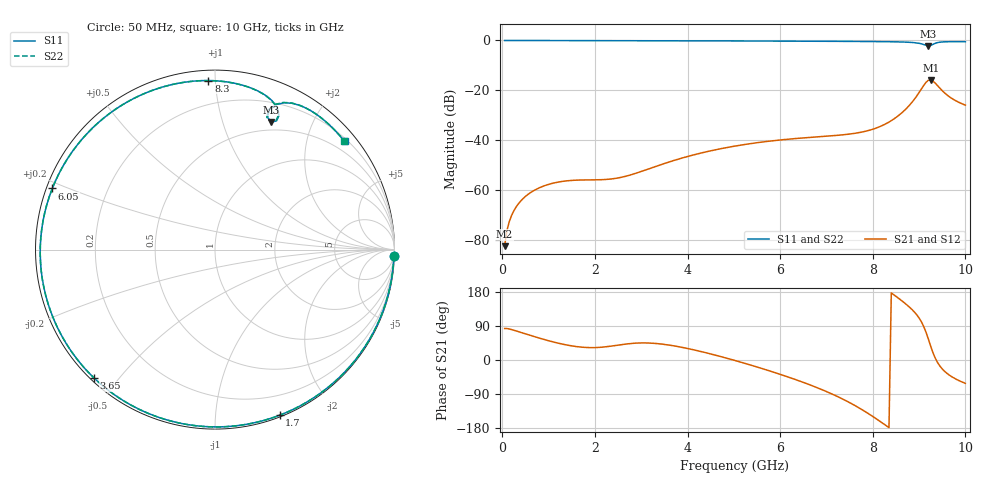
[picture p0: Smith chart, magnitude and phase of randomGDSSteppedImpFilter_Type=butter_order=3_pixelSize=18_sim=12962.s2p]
! freq	dB(S11)	phase(S11)	dB(S12)	phase(S12)
!  dB(S21)	phase(S21)	dB(S22)	phase(S22)
!S-par simulation data
#  GHz  S  DB  R 50
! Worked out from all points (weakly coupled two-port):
!   200 points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, 50 MHz to 10 GHz, reference 50 ohm
!   highest |S21| = -15.80 dB at 9.25 GHz (marker M1); lowest = -82.4 dB at 50 MHz (marker M2)
!   lowest |S11| = -2.2 dB at 9.2 GHz (marker M3), VSWR 7.96, Z = 20.3 + j72.9 ohm
!   |S11| at or under -10 dB: nowhere
!   |S22| runs from -2.2 to 0.0 dB; largest |S21 - S12| = 0
!   S11 on the Smith chart (normalised r, x): 50 MHz: 4, -53; 1.7 GHz: 0.02, -1.46; 3.65 GHz: 0.01, -0.43; 6.05 GHz: 0.02, +0.18; 8.3 GHz: 0.06, +0.96; 10 GHz: 0.26, +2.74
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0.05  -0.02 -2.2  -82.41 83.1  -82.41 83.1  -0.02 -2.2
0.15  -0.03 -6.3  -72.63 81.9  -72.63 81.9  -0.03 -6.3
0.25  -0.03 -10.6  -68.23 78.5  -68.23 78.5  -0.03 -10.6
0.55  -0.03 -23.1  -61.75 67.1  -61.75 67.1  -0.03 -23.1
1.05  -0.05 -43.6  -57.40 49.2  -57.40 49.2  -0.05 -43.5
1.7  -0.08 -68.7  -55.91 34.1  -55.91 34.1  -0.08 -68.7
1.75  -0.09 -70.6  -55.89 33.5  -55.89 33.5  -0.09 -70.6
2.5  -0.11 -97.1  -55.10 39.3  -55.10 39.3  -0.11 -97.1
3.4  -0.14 -125.9  -49.93 42.6  -49.93 42.6  -0.14 -125.8
3.65  -0.15 -133.4  -48.41 38.5  -48.41 38.5  -0.15 -133.3
5.05  -0.22 -173.1  -42.25 -2.2  -42.25 -2.2  -0.22 -173.0
6.05  -0.28 159.4  -39.79 -39.8  -39.79 -39.8  -0.28 159.5
6.7  -0.32 141.1  -38.78 -68.3  -38.78 -68.3  -0.32 141.3
7.7  -0.42 111.4  -36.95 -126.1  -36.95 -126.1  -0.42 111.6
8.3  -0.51 92.2  -33.23 -174.2  -33.23 -174.2  -0.51 92.5
8.35  -0.53 90.6  -32.71 -178.6  -32.71 -178.6  -0.53 90.8
8.75  -0.72 76.7  -26.82 144.0  -26.82 144.0  -0.72 76.9
9.05  -1.38 65.6  -19.46 100.8  -19.46 100.8  -1.38 65.9
9.2  -2.19 66.1  -15.97 55.4  -15.97 55.4  -2.20 66.4
9.25  -2.02 68.3  -15.80 36.6  -15.80 36.6  -2.02 68.6
9.45  -0.71 62.3  -19.19 -16.1  -19.19 -16.1  -0.72 62.6
10  -0.53 39.8  -25.93 -61.7  -25.93 -61.7  -0.53 40.2
